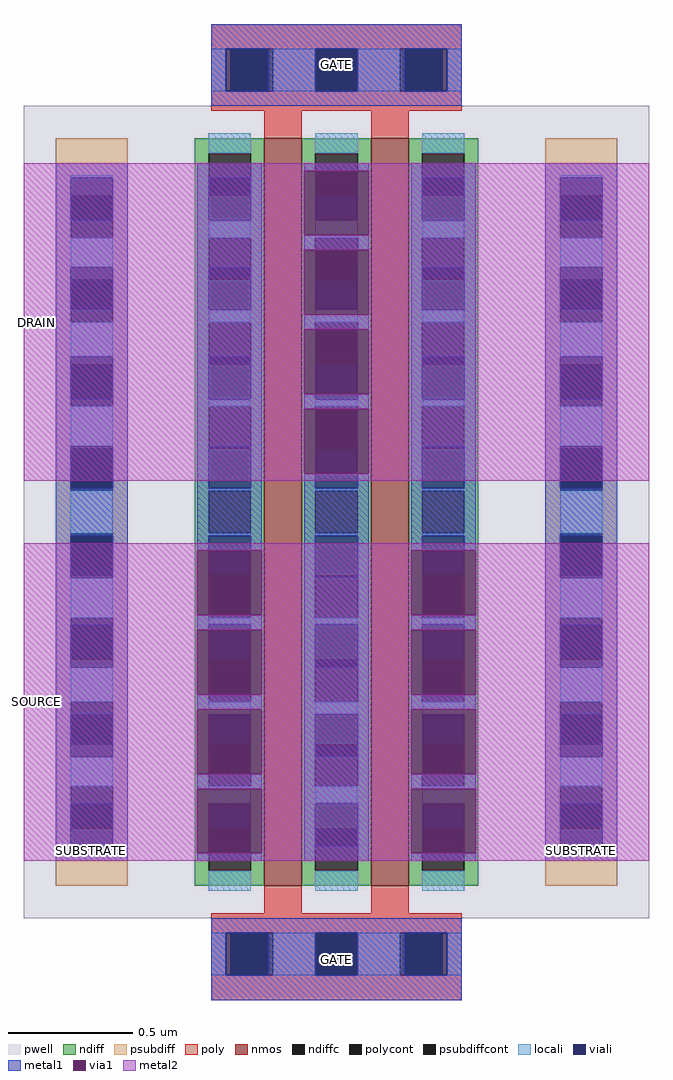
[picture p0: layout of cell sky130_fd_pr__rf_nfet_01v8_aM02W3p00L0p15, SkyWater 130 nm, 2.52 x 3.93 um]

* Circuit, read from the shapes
.subckt sky130_fd_pr__rf_nfet_01v8_aM02W3p00L0p15 DRAIN GATE SOURCE SUBSTRATE
XM1 DRAIN GATE SOURCE SUBSTRATE sky130_fd_pr__nfet_01v8 w=3.01 l=0.15 m=2
.ends

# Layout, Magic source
magic
tech sky130A
magscale 1 2
<< pwell >>
rect 10 76 514 730
<< nmos >>
rect 204 102 234 704
rect 290 102 320 704
<< ndiff >>
rect 148 692 204 704
rect 148 658 159 692
rect 193 658 204 692
rect 148 624 204 658
rect 148 590 159 624
rect 193 590 204 624
rect 148 556 204 590
rect 148 522 159 556
rect 193 522 204 556
rect 148 488 204 522
rect 148 454 159 488
rect 193 454 204 488
rect 148 420 204 454
rect 148 386 159 420
rect 193 386 204 420
rect 148 352 204 386
rect 148 318 159 352
rect 193 318 204 352
rect 148 284 204 318
rect 148 250 159 284
rect 193 250 204 284
rect 148 216 204 250
rect 148 182 159 216
rect 193 182 204 216
rect 148 148 204 182
rect 148 114 159 148
rect 193 114 204 148
rect 148 102 204 114
rect 234 692 290 704
rect 234 658 245 692
rect 279 658 290 692
rect 234 624 290 658
rect 234 590 245 624
rect 279 590 290 624
rect 234 556 290 590
rect 234 522 245 556
rect 279 522 290 556
rect 234 488 290 522
rect 234 454 245 488
rect 279 454 290 488
rect 234 420 290 454
rect 234 386 245 420
rect 279 386 290 420
rect 234 352 290 386
rect 234 318 245 352
rect 279 318 290 352
rect 234 284 290 318
rect 234 250 245 284
rect 279 250 290 284
rect 234 216 290 250
rect 234 182 245 216
rect 279 182 290 216
rect 234 148 290 182
rect 234 114 245 148
rect 279 114 290 148
rect 234 102 290 114
rect 320 692 376 704
rect 320 658 331 692
rect 365 658 376 692
rect 320 624 376 658
rect 320 590 331 624
rect 365 590 376 624
rect 320 556 376 590
rect 320 522 331 556
rect 365 522 376 556
rect 320 488 376 522
rect 320 454 331 488
rect 365 454 376 488
rect 320 420 376 454
rect 320 386 331 420
rect 365 386 376 420
rect 320 352 376 386
rect 320 318 331 352
rect 365 318 376 352
rect 320 284 376 318
rect 320 250 331 284
rect 365 250 376 284
rect 320 216 376 250
rect 320 182 331 216
rect 365 182 376 216
rect 320 148 376 182
rect 320 114 331 148
rect 365 114 376 148
rect 320 102 376 114
<< ndiffc >>
rect 159 658 193 692
rect 159 590 193 624
rect 159 522 193 556
rect 159 454 193 488
rect 159 386 193 420
rect 159 318 193 352
rect 159 250 193 284
rect 159 182 193 216
rect 159 114 193 148
rect 245 658 279 692
rect 245 590 279 624
rect 245 522 279 556
rect 245 454 279 488
rect 245 386 279 420
rect 245 318 279 352
rect 245 250 279 284
rect 245 182 279 216
rect 245 114 279 148
rect 331 658 365 692
rect 331 590 365 624
rect 331 522 365 556
rect 331 454 365 488
rect 331 386 365 420
rect 331 318 365 352
rect 331 250 365 284
rect 331 182 365 216
rect 331 114 365 148
<< psubdiff >>
rect 36 658 94 704
rect 36 624 48 658
rect 82 624 94 658
rect 36 590 94 624
rect 36 556 48 590
rect 82 556 94 590
rect 36 522 94 556
rect 36 488 48 522
rect 82 488 94 522
rect 36 454 94 488
rect 36 420 48 454
rect 82 420 94 454
rect 36 386 94 420
rect 36 352 48 386
rect 82 352 94 386
rect 36 318 94 352
rect 36 284 48 318
rect 82 284 94 318
rect 36 250 94 284
rect 36 216 48 250
rect 82 216 94 250
rect 36 182 94 216
rect 36 148 48 182
rect 82 148 94 182
rect 36 102 94 148
rect 430 658 488 704
rect 430 624 442 658
rect 476 624 488 658
rect 430 590 488 624
rect 430 556 442 590
rect 476 556 488 590
rect 430 522 488 556
rect 430 488 442 522
rect 476 488 488 522
rect 430 454 488 488
rect 430 420 442 454
rect 476 420 488 454
rect 430 386 488 420
rect 430 352 442 386
rect 476 352 488 386
rect 430 318 488 352
rect 430 284 442 318
rect 476 284 488 318
rect 430 250 488 284
rect 430 216 442 250
rect 476 216 488 250
rect 430 182 488 216
rect 430 148 442 182
rect 476 148 488 182
rect 430 102 488 148
<< psubdiffcont >>
rect 48 624 82 658
rect 48 556 82 590
rect 48 488 82 522
rect 48 420 82 454
rect 48 352 82 386
rect 48 284 82 318
rect 48 216 82 250
rect 48 148 82 182
rect 442 624 476 658
rect 442 556 476 590
rect 442 488 476 522
rect 442 420 476 454
rect 442 352 476 386
rect 442 284 476 318
rect 442 216 476 250
rect 442 148 476 182
<< poly >>
rect 161 776 363 796
rect 161 742 177 776
rect 211 742 245 776
rect 279 742 313 776
rect 347 742 363 776
rect 161 726 363 742
rect 204 704 234 726
rect 290 704 320 726
rect 204 80 234 102
rect 290 80 320 102
rect 161 64 363 80
rect 161 30 177 64
rect 211 30 245 64
rect 279 30 313 64
rect 347 30 363 64
rect 161 10 363 30
<< polycont >>
rect 177 742 211 776
rect 245 742 279 776
rect 313 742 347 776
rect 177 30 211 64
rect 245 30 279 64
rect 313 30 347 64
<< locali >>
rect 161 742 173 776
rect 211 742 245 776
rect 279 742 313 776
rect 351 742 363 776
rect 159 692 193 708
rect 48 672 82 674
rect 48 600 82 624
rect 48 528 82 556
rect 48 456 82 488
rect 48 386 82 420
rect 48 318 82 350
rect 48 250 82 278
rect 48 182 82 206
rect 48 132 82 134
rect 159 624 193 638
rect 159 556 193 566
rect 159 488 193 494
rect 159 420 193 422
rect 159 384 193 386
rect 159 312 193 318
rect 159 240 193 250
rect 159 168 193 182
rect 159 98 193 114
rect 245 692 279 708
rect 245 624 279 638
rect 245 556 279 566
rect 245 488 279 494
rect 245 420 279 422
rect 245 384 279 386
rect 245 312 279 318
rect 245 240 279 250
rect 245 168 279 182
rect 245 98 279 114
rect 331 692 365 708
rect 331 624 365 638
rect 331 556 365 566
rect 331 488 365 494
rect 331 420 365 422
rect 331 384 365 386
rect 331 312 365 318
rect 331 240 365 250
rect 331 168 365 182
rect 442 672 476 674
rect 442 600 476 624
rect 442 528 476 556
rect 442 456 476 488
rect 442 386 476 420
rect 442 318 476 350
rect 442 250 476 278
rect 442 182 476 206
rect 442 132 476 134
rect 331 98 365 114
rect 161 30 173 64
rect 211 30 245 64
rect 279 30 313 64
rect 351 30 363 64
<< viali >>
rect 173 742 177 776
rect 177 742 207 776
rect 245 742 279 776
rect 317 742 347 776
rect 347 742 351 776
rect 48 658 82 672
rect 48 638 82 658
rect 48 590 82 600
rect 48 566 82 590
rect 48 522 82 528
rect 48 494 82 522
rect 48 454 82 456
rect 48 422 82 454
rect 48 352 82 384
rect 48 350 82 352
rect 48 284 82 312
rect 48 278 82 284
rect 48 216 82 240
rect 48 206 82 216
rect 48 148 82 168
rect 48 134 82 148
rect 159 658 193 672
rect 159 638 193 658
rect 159 590 193 600
rect 159 566 193 590
rect 159 522 193 528
rect 159 494 193 522
rect 159 454 193 456
rect 159 422 193 454
rect 159 352 193 384
rect 159 350 193 352
rect 159 284 193 312
rect 159 278 193 284
rect 159 216 193 240
rect 159 206 193 216
rect 159 148 193 168
rect 159 134 193 148
rect 245 658 279 672
rect 245 638 279 658
rect 245 590 279 600
rect 245 566 279 590
rect 245 522 279 528
rect 245 494 279 522
rect 245 454 279 456
rect 245 422 279 454
rect 245 352 279 384
rect 245 350 279 352
rect 245 284 279 312
rect 245 278 279 284
rect 245 216 279 240
rect 245 206 279 216
rect 245 148 279 168
rect 245 134 279 148
rect 331 658 365 672
rect 331 638 365 658
rect 331 590 365 600
rect 331 566 365 590
rect 331 522 365 528
rect 331 494 365 522
rect 331 454 365 456
rect 331 422 365 454
rect 331 352 365 384
rect 331 350 365 352
rect 331 284 365 312
rect 331 278 365 284
rect 331 216 365 240
rect 331 206 365 216
rect 331 148 365 168
rect 331 134 365 148
rect 442 658 476 672
rect 442 638 476 658
rect 442 590 476 600
rect 442 566 476 590
rect 442 522 476 528
rect 442 494 476 522
rect 442 454 476 456
rect 442 422 476 454
rect 442 352 476 384
rect 442 350 476 352
rect 442 284 476 312
rect 442 278 476 284
rect 442 216 476 240
rect 442 206 476 216
rect 442 148 476 168
rect 442 134 476 148
rect 173 30 177 64
rect 177 30 207 64
rect 245 30 279 64
rect 317 30 347 64
rect 347 30 351 64
<< metal1 >>
rect 161 776 363 796
rect 161 742 173 776
rect 207 742 245 776
rect 279 742 317 776
rect 351 742 363 776
rect 161 730 363 742
rect 36 672 94 684
rect 36 638 48 672
rect 82 638 94 672
rect 36 600 94 638
rect 36 566 48 600
rect 82 566 94 600
rect 36 528 94 566
rect 36 494 48 528
rect 82 494 94 528
rect 36 456 94 494
rect 36 422 48 456
rect 82 422 94 456
rect 36 384 94 422
rect 36 350 48 384
rect 82 350 94 384
rect 36 312 94 350
rect 36 278 48 312
rect 82 278 94 312
rect 36 240 94 278
rect 36 206 48 240
rect 82 206 94 240
rect 36 168 94 206
rect 36 134 48 168
rect 82 134 94 168
rect 36 122 94 134
rect 150 672 202 684
rect 150 638 159 672
rect 193 638 202 672
rect 150 600 202 638
rect 150 566 159 600
rect 193 566 202 600
rect 150 528 202 566
rect 150 494 159 528
rect 193 494 202 528
rect 150 456 202 494
rect 150 422 159 456
rect 193 422 202 456
rect 150 384 202 422
rect 150 372 159 384
rect 193 372 202 384
rect 150 312 202 320
rect 150 308 159 312
rect 193 308 202 312
rect 150 244 202 256
rect 150 180 202 192
rect 150 122 202 128
rect 236 678 288 684
rect 236 614 288 626
rect 236 550 288 562
rect 236 494 245 498
rect 279 494 288 498
rect 236 486 288 494
rect 236 422 245 434
rect 279 422 288 434
rect 236 384 288 422
rect 236 350 245 384
rect 279 350 288 384
rect 236 312 288 350
rect 236 278 245 312
rect 279 278 288 312
rect 236 240 288 278
rect 236 206 245 240
rect 279 206 288 240
rect 236 168 288 206
rect 236 134 245 168
rect 279 134 288 168
rect 236 122 288 134
rect 322 672 374 684
rect 322 638 331 672
rect 365 638 374 672
rect 322 600 374 638
rect 322 566 331 600
rect 365 566 374 600
rect 322 528 374 566
rect 322 494 331 528
rect 365 494 374 528
rect 322 456 374 494
rect 322 422 331 456
rect 365 422 374 456
rect 322 384 374 422
rect 322 372 331 384
rect 365 372 374 384
rect 322 312 374 320
rect 322 308 331 312
rect 365 308 374 312
rect 322 244 374 256
rect 322 180 374 192
rect 322 122 374 128
rect 430 672 488 684
rect 430 638 442 672
rect 476 638 488 672
rect 430 600 488 638
rect 430 566 442 600
rect 476 566 488 600
rect 430 528 488 566
rect 430 494 442 528
rect 476 494 488 528
rect 430 456 488 494
rect 430 422 442 456
rect 476 422 488 456
rect 430 384 488 422
rect 430 350 442 384
rect 476 350 488 384
rect 430 312 488 350
rect 430 278 442 312
rect 476 278 488 312
rect 430 240 488 278
rect 430 206 442 240
rect 476 206 488 240
rect 430 168 488 206
rect 430 134 442 168
rect 476 134 488 168
rect 430 122 488 134
rect 161 64 363 76
rect 161 30 173 64
rect 207 30 245 64
rect 279 30 317 64
rect 351 30 363 64
rect 161 10 363 30
<< via1 >>
rect 150 350 159 372
rect 159 350 193 372
rect 193 350 202 372
rect 150 320 202 350
rect 150 278 159 308
rect 159 278 193 308
rect 193 278 202 308
rect 150 256 202 278
rect 150 240 202 244
rect 150 206 159 240
rect 159 206 193 240
rect 193 206 202 240
rect 150 192 202 206
rect 150 168 202 180
rect 150 134 159 168
rect 159 134 193 168
rect 193 134 202 168
rect 150 128 202 134
rect 236 672 288 678
rect 236 638 245 672
rect 245 638 279 672
rect 279 638 288 672
rect 236 626 288 638
rect 236 600 288 614
rect 236 566 245 600
rect 245 566 279 600
rect 279 566 288 600
rect 236 562 288 566
rect 236 528 288 550
rect 236 498 245 528
rect 245 498 279 528
rect 279 498 288 528
rect 236 456 288 486
rect 236 434 245 456
rect 245 434 279 456
rect 279 434 288 456
rect 322 350 331 372
rect 331 350 365 372
rect 365 350 374 372
rect 322 320 374 350
rect 322 278 331 308
rect 331 278 365 308
rect 365 278 374 308
rect 322 256 374 278
rect 322 240 374 244
rect 322 206 331 240
rect 331 206 365 240
rect 365 206 374 240
rect 322 192 374 206
rect 322 168 374 180
rect 322 134 331 168
rect 331 134 365 168
rect 365 134 374 168
rect 322 128 374 134
<< metal2 >>
rect 10 678 514 684
rect 10 626 236 678
rect 288 626 514 678
rect 10 614 514 626
rect 10 562 236 614
rect 288 562 514 614
rect 10 550 514 562
rect 10 498 236 550
rect 288 498 514 550
rect 10 486 514 498
rect 10 434 236 486
rect 288 434 514 486
rect 10 428 514 434
rect 10 372 514 378
rect 10 320 150 372
rect 202 320 322 372
rect 374 320 514 372
rect 10 308 514 320
rect 10 256 150 308
rect 202 256 322 308
rect 374 256 514 308
rect 10 244 514 256
rect 10 192 150 244
rect 202 192 322 244
rect 374 192 514 244
rect 10 180 514 192
rect 10 128 150 180
rect 202 128 322 180
rect 374 128 514 180
rect 10 122 514 128
<< labels >>
flabel metal2 s 10 428 30 684 7 FreeSans 300 180 0 0 DRAIN
port 1 nsew
flabel metal2 s 10 122 30 378 7 FreeSans 300 180 0 0 SOURCE
port 3 nsew
flabel metal1 s 430 122 488 138 3 FreeSans 300 90 0 0 SUBSTRATE
port 4 nsew
flabel metal1 s 161 10 363 76 0 FreeSans 300 0 0 0 GATE
port 2 nsew
flabel metal1 s 36 122 94 138 3 FreeSans 300 90 0 0 SUBSTRATE
port 4 nsew
flabel metal1 s 161 730 363 796 0 FreeSans 300 0 0 0 GATE
port 2 nsew
<< properties >>
string GDS_FILE $PDKPATH/libs.ref/sky130_fd_pr/gds/sky130_fd_pr.gds
string GDS_END 3989182
string GDS_START 3978318
<< end >>
